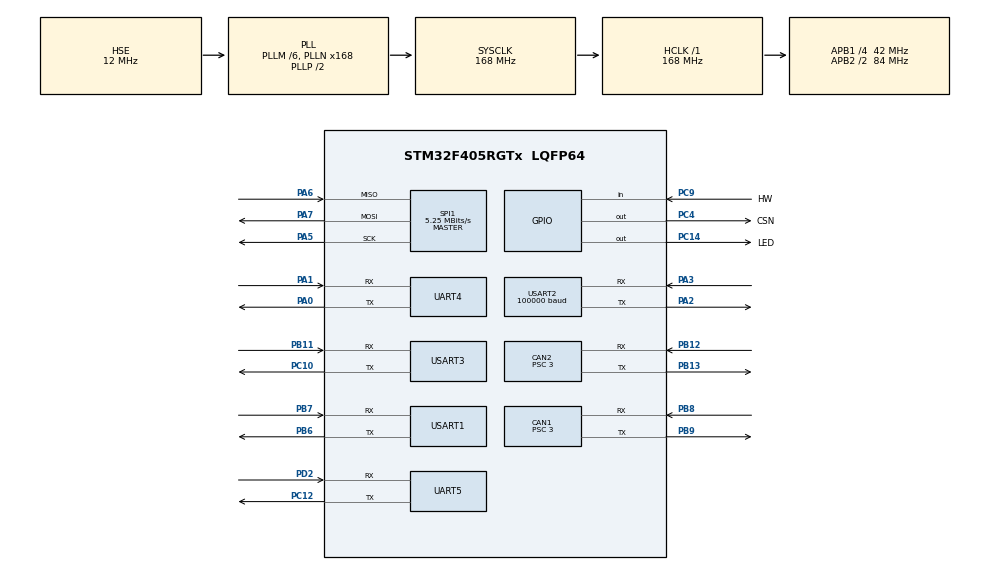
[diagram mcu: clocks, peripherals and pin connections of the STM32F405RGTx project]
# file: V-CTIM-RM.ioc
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CAN1.BS1=CAN_BS1_9TQ
CAN1.BS2=CAN_BS2_4TQ
CAN1.CalculateBaudRate=1000000
CAN1.CalculateTimeBit=999.99
CAN1.CalculateTimeQuantum=71.42857142857143
CAN1.Prescaler=3
CAN1.TXFP=ENABLE
CAN2.BS1=CAN_BS1_9TQ
CAN2.BS2=CAN_BS2_4TQ
CAN2.CalculateBaudRate=1000000
CAN2.CalculateTimeBit=999.99
CAN2.CalculateTimeQuantum=71.42857142857143
CAN2.Prescaler=3
CAN2.TXFP=ENABLE
Dma.Request0=USART1_RX
Dma.Request1=USART1_TX
Dma.Request2=USART3_TX
Dma.Request3=UART4_RX
Dma.Request4=USART2_RX
Dma.UART4_RX.3.Direction=DMA_PERIPH_TO_MEMORY
Dma.UART4_RX.3.FIFOMode=DMA_FIFOMODE_DISABLE
Dma.UART4_RX.3.Instance=DMA1_Stream2
Dma.UART4_RX.3.MemDataAlignment=DMA_MDATAALIGN_BYTE
Dma.UART4_RX.3.MemInc=DMA_MINC_ENABLE
Dma.UART4_RX.3.Mode=DMA_CIRCULAR
Dma.UART4_RX.3.PeriphDataAlignment=DMA_PDATAALIGN_BYTE
Dma.UART4_RX.3.PeriphInc=DMA_PINC_DISABLE
Dma.UART4_RX.3.Priority=DMA_PRIORITY_LOW
Dma.USART1_RX.0.Direction=DMA_PERIPH_TO_MEMORY
Dma.USART1_RX.0.FIFOMode=DMA_FIFOMODE_DISABLE
Dma.USART1_RX.0.Instance=DMA2_Stream2
Dma.USART1_RX.0.MemDataAlignment=DMA_MDATAALIGN_BYTE
Dma.USART1_RX.0.MemInc=DMA_MINC_ENABLE
Dma.USART1_RX.0.Mode=DMA_NORMAL
Dma.USART1_RX.0.PeriphDataAlignment=DMA_PDATAALIGN_BYTE
Dma.USART1_RX.0.PeriphInc=DMA_PINC_DISABLE
Dma.USART1_RX.0.Priority=DMA_PRIORITY_LOW
Dma.USART1_TX.1.Direction=DMA_MEMORY_TO_PERIPH
Dma.USART1_TX.1.FIFOMode=DMA_FIFOMODE_DISABLE
Dma.USART1_TX.1.Instance=DMA2_Stream7
Dma.USART1_TX.1.MemDataAlignment=DMA_MDATAALIGN_BYTE
Dma.USART1_TX.1.MemInc=DMA_MINC_ENABLE
Dma.USART1_TX.1.Mode=DMA_NORMAL
Dma.USART1_TX.1.PeriphDataAlignment=DMA_PDATAALIGN_BYTE
Dma.USART1_TX.1.PeriphInc=DMA_PINC_DISABLE
Dma.USART1_TX.1.Priority=DMA_PRIORITY_LOW
Dma.USART2_RX.4.Direction=DMA_PERIPH_TO_MEMORY
Dma.USART2_RX.4.FIFOMode=DMA_FIFOMODE_DISABLE
Dma.USART2_RX.4.Instance=DMA1_Stream5
Dma.USART2_RX.4.MemDataAlignment=DMA_MDATAALIGN_BYTE
Dma.USART2_RX.4.MemInc=DMA_MINC_ENABLE
Dma.USART2_RX.4.Mode=DMA_CIRCULAR
Dma.USART2_RX.4.PeriphDataAlignment=DMA_PDATAALIGN_BYTE
Dma.USART2_RX.4.PeriphInc=DMA_PINC_DISABLE
Dma.USART2_RX.4.Priority=DMA_PRIORITY_LOW
Dma.USART3_TX.2.Direction=DMA_MEMORY_TO_PERIPH
Dma.USART3_TX.2.FIFOMode=DMA_FIFOMODE_DISABLE
Dma.USART3_TX.2.Instance=DMA1_Stream3
Dma.USART3_TX.2.MemDataAlignment=DMA_MDATAALIGN_BYTE
Dma.USART3_TX.2.MemInc=DMA_MINC_ENABLE
Dma.USART3_TX.2.Mode=DMA_NORMAL
Dma.USART3_TX.2.PeriphDataAlignment=DMA_PDATAALIGN_BYTE
Dma.USART3_TX.2.PeriphInc=DMA_PINC_DISABLE
Dma.USART3_TX.2.Priority=DMA_PRIORITY_LOW
FREERTOS.Tasks01=Chassis_Task,0,128,Start_Chassis_Task,Default,NULL,Dynamic,NULL,NULL;Gimbal_Task,-3,128,Start_Gimbal_Task,Default,NULL,Dynamic,NULL,NULL;Ammo_Task,-3,128,Start_Ammo_Task,Default,NULL,Dynamic,NULL,NULL;Mini_PC_Task,-3,128,Start_Mini_PC_Task,Default,NULL,Dynamic,NULL,NULL;Judge_Task,-3,128,Start_Judge_Task,Default,NULL,Dynamic,NULL,NULL;Debug_Task,-3,128,Start_Debug_Task,Default,NULL,Dynamic,NULL,NULL;IWDG_Task,-3,128,Start_IWDG_Task,Default,NULL,Dynamic,NULL,NULL
IWDG.Prescaler=IWDG_PRESCALER_32
IWDG.Reload=500
Mcu.Family=STM32F4
Mcu.Name=STM32F405RGTx
Mcu.Package=LQFP64
NVIC.CAN1_RX0_IRQn=true\:6\:0\:true\:false\:true\:true\:true\:true
NVIC.CAN2_RX0_IRQn=true\:6\:0\:true\:false\:true\:true\:true\:true
NVIC.DMA1_Stream2_IRQn=true\:5\:0\:false\:false\:true\:true\:false\:true
NVIC.DMA1_Stream3_IRQn=true\:5\:0\:false\:false\:true\:true\:false\:true
NVIC.DMA1_Stream5_IRQn=true\:5\:0\:false\:false\:true\:true\:false\:true
NVIC.DMA2_Stream2_IRQn=true\:5\:0\:false\:false\:true\:true\:false\:true
NVIC.DMA2_Stream7_IRQn=true\:5\:0\:false\:false\:true\:true\:false\:true
NVIC.PriorityGroup=NVIC_PRIORITYGROUP_4
NVIC.TIM1_UP_TIM10_IRQn=true\:15\:0\:false\:false\:true\:false\:false\:true
NVIC.TimeBase=TIM1_UP_TIM10_IRQn
NVIC.TimeBaseIP=TIM1
NVIC.UART4_IRQn=true\:7\:0\:true\:false\:true\:true\:true\:true
NVIC.USART1_IRQn=true\:14\:0\:true\:false\:true\:true\:true\:true
NVIC.USART2_IRQn=true\:8\:0\:true\:false\:true\:true\:true\:true
NVIC.USART3_IRQn=true\:9\:0\:true\:false\:true\:true\:true\:true
PA0-WKUP.Mode=Asynchronous
PA0-WKUP.Signal=UART4_TX
PA1.Mode=Asynchronous
PA1.Signal=UART4_RX
PA13.Mode=Serial_Wire
PA13.Signal=SYS_JTMS-SWDIO
PA14.Mode=Serial_Wire
PA14.Signal=SYS_JTCK-SWCLK
PA2.Mode=Asynchronous
PA2.Signal=USART2_TX
PA3.Mode=Asynchronous
PA3.Signal=USART2_RX
PA5.Mode=Full_Duplex_Master
PA5.Signal=SPI1_SCK
PA6.Mode=Full_Duplex_Master
PA6.Signal=SPI1_MISO
PA7.Mode=Full_Duplex_Master
PA7.Signal=SPI1_MOSI
PB11.Mode=Asynchronous
PB11.Signal=USART3_RX
PB12.Mode=CAN_Activate
PB12.Signal=CAN2_RX
PB13.Mode=CAN_Activate
PB13.Signal=CAN2_TX
PB6.Mode=Asynchronous
PB6.Signal=USART1_TX
PB7.Mode=Asynchronous
PB7.Signal=USART1_RX
PB8.Mode=CAN_Activate
PB8.Signal=CAN1_RX
PB9.Mode=CAN_Activate
PB9.Signal=CAN1_TX
PC10.Mode=Asynchronous
PC10.Signal=USART3_TX
PC12.Mode=Asynchronous
PC12.Signal=UART5_TX
PC14-OSC32_IN.GPIO_Label=LED
PC14-OSC32_IN.GPIO_PuPd=GPIO_PULLUP
PC14-OSC32_IN.PinState=GPIO_PIN_SET
PC14-OSC32_IN.Signal=GPIO_Output
PC4.GPIO_Label=CSN
PC4.GPIO_PuPd=GPIO_PULLUP
PC4.GPIO_Speed=GPIO_SPEED_FREQ_HIGH
PC4.PinState=GPIO_PIN_SET
PC4.Signal=GPIO_Output
PC9.GPIO_Label=HW
PC9.GPIO_PuPd=GPIO_PULLDOWN
PC9.Signal=GPIO_Input
PD2.Mode=Asynchronous
PD2.Signal=UART5_RX
PH0-OSC_IN.Mode=HSE-External-Oscillator
PH0-OSC_IN.Signal=RCC_OSC_IN
PH1-OSC_OUT.Mode=HSE-External-Oscillator
PH1-OSC_OUT.Signal=RCC_OSC_OUT
ProjectManager.HeapSize=0x200
ProjectManager.StackSize=0x400
ProjectManager.TargetToolchain=MDK-ARM V5.32
RCC.48MHZClocksFreq_Value=84000000
RCC.AHBFreq_Value=168000000
RCC.APB1CLKDivider=RCC_HCLK_DIV4
RCC.APB1Freq_Value=42000000
RCC.APB1TimFreq_Value=84000000
RCC.APB2CLKDivider=RCC_HCLK_DIV2
RCC.APB2Freq_Value=84000000
RCC.APB2TimFreq_Value=168000000
RCC.CortexFreq_Value=168000000
RCC.HCLKFreq_Value=168000000
RCC.HSE_VALUE=12000000
RCC.HSI_VALUE=16000000
RCC.LSE_VALUE=32768
RCC.PLLM=6
RCC.PLLN=168
RCC.PLLSourceVirtual=RCC_PLLSOURCE_HSE
RCC.SYSCLKFreq_VALUE=168000000
RCC.SYSCLKSource=RCC_SYSCLKSOURCE_PLLCLK
RCC.VCOOutputFreq_Value=336000000
SPI1.BaudRatePrescaler=SPI_BAUDRATEPRESCALER_16
SPI1.CLKPhase=SPI_PHASE_2EDGE
SPI1.CalculateBaudRate=5.25 MBits/s
SPI1.DataSize=SPI_DATASIZE_16BIT
SPI1.Direction=SPI_DIRECTION_2LINES
SPI1.Mode=SPI_MODE_MASTER
SPI1.VirtualType=VM_MASTER
UART4.VirtualMode=Asynchronous
UART5.VirtualMode=Asynchronous
USART1.VirtualMode=VM_ASYNC
USART2.BaudRate=100000
USART2.VirtualMode=VM_ASYNC
USART3.VirtualMode=VM_ASYNC
VP_FREERTOS_VS_CMSIS_V1.Mode=CMSIS_V1
VP_IWDG_VS_IWDG.Mode=IWDG_Activate
VP_SYS_VS_tim1.Mode=TIM1
board=custom

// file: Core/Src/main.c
/* USER CODE BEGIN Header */
/**
  ******************************************************************************
  * @file           : main.c
  * @brief          : Main program body
  ******************************************************************************
  * @attention
  *
  * <h2><center>&copy; Copyright (c) 2021 STMicroelectronics.
  * All rights reserved.</center></h2>
  *
  * This software component is licensed by ST under Ultimate Liberty license
  * SLA0044, the "License"; You may not use this file except in compliance with
  * the License. You may obtain a copy of the License at:
  *                             www.st.com/SLA0044
  *
  ******************************************************************************
  */
/* USER CODE END Header */
#include "main.h"
#include "cmsis_os.h"
#include "can.h"
#include "dma.h"
#include "iwdg.h"
#include "spi.h"
#include "usart.h"
#include "gpio.h"

/* USER CODE BEGIN Includes */
#include "USER_CAN.h"
#include "ATK_IMU.h"
#include "DBus.h"
#include "Fire.h"
/* USER CODE END Includes */

void SystemClock_Config(void);
void MX_FREERTOS_Init(void);

int main(void)
{

  /* MCU Configuration--------------------------------------------------------*/

  /* Reset of all peripherals, Initializes the Flash interface and the Systick. */
  HAL_Init();

  /* Configure the system clock */
  SystemClock_Config();

  /* Initialize all configured peripherals */
  MX_GPIO_Init();
  MX_DMA_Init();
  MX_IWDG_Init();
  MX_USART1_UART_Init();
  MX_CAN1_Init();
  MX_CAN2_Init();
  MX_UART4_Init();
  MX_UART5_Init();
  MX_USART2_UART_Init();
  MX_USART3_UART_Init();
  MX_SPI1_Init();
  /* USER CODE BEGIN 2 */
	CAN_Filter_Init();
	ATM_IMU_init();
	Remote_Control_Init();
	Fire_init();
	Fire_uart_init();
  /* USER CODE END 2 */

  /* Call init function for freertos objects (in freertos.c) */
  MX_FREERTOS_Init();
  /* Start scheduler */
  osKernelStart();

  /* We should never get here as control is now taken by the scheduler */
  /* Infinite loop */
  while (1)
  {

  }
}

void SystemClock_Config(void)
{
  RCC_OscInitTypeDef RCC_OscInitStruct = {0};
  RCC_ClkInitTypeDef RCC_ClkInitStruct = {0};

  /** Configure the main internal regulator output voltage
  */
  __HAL_RCC_PWR_CLK_ENABLE();
  __HAL_PWR_VOLTAGESCALING_CONFIG(PWR_REGULATOR_VOLTAGE_SCALE1);
  /** Initializes the RCC Oscillators according to the specified parameters
  * in the RCC_OscInitTypeDef structure.
  */
  RCC_OscInitStruct.OscillatorType = RCC_OSCILLATORTYPE_LSI|RCC_OSCILLATORTYPE_HSE;
  RCC_OscInitStruct.HSEState = RCC_HSE_ON;
  RCC_OscInitStruct.LSIState = RCC_LSI_ON;
  RCC_OscInitStruct.PLL.PLLState = RCC_PLL_ON;
  RCC_OscInitStruct.PLL.PLLSource = RCC_PLLSOURCE_HSE;
  RCC_OscInitStruct.PLL.PLLM = 6;
  RCC_OscInitStruct.PLL.PLLN = 168;
  RCC_OscInitStruct.PLL.PLLP = RCC_PLLP_DIV2;
  RCC_OscInitStruct.PLL.PLLQ = 4;
  if (HAL_RCC_OscConfig(&RCC_OscInitStruct) != HAL_OK)
  {
    Error_Handler();
  }
  /** Initializes the CPU, AHB and APB buses clocks
  */
  RCC_ClkInitStruct.ClockType = RCC_CLOCKTYPE_HCLK|RCC_CLOCKTYPE_SYSCLK
                              |RCC_CLOCKTYPE_PCLK1|RCC_CLOCKTYPE_PCLK2;
  RCC_ClkInitStruct.SYSCLKSource = RCC_SYSCLKSOURCE_PLLCLK;
  RCC_ClkInitStruct.AHBCLKDivider = RCC_SYSCLK_DIV1;
  RCC_ClkInitStruct.APB1CLKDivider = RCC_HCLK_DIV4;
  RCC_ClkInitStruct.APB2CLKDivider = RCC_HCLK_DIV2;

  if (HAL_RCC_ClockConfig(&RCC_ClkInitStruct, FLASH_LATENCY_5) != HAL_OK)
  {
    Error_Handler();
  }
}

void HAL_TIM_PeriodElapsedCallback(TIM_HandleTypeDef *htim)
{
  if (htim->Instance == TIM1) {
    HAL_IncTick();
  }
}

void Error_Handler(void)
{
  __disable_irq();
  while (1)
  {
  }
}

/************************ (C) COPYRIGHT STMicroelectronics *****END OF FILE****/

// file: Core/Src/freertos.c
/* USER CODE BEGIN Header */
/**
  ******************************************************************************
  * File Name          : freertos.c
  * Description        : Code for freertos applications
  ******************************************************************************
  * @attention
  *
  * <h2><center>&copy; Copyright (c) 2021 STMicroelectronics.
  * All rights reserved.</center></h2>
  *
  * This software component is licensed by ST under Ultimate Liberty license
  * SLA0044, the "License"; You may not use this file except in compliance with
  * the License. You may obtain a copy of the License at:
  *                             www.st.com/SLA0044
  *
  ******************************************************************************
  */
/* USER CODE END Header */

#include "FreeRTOS.h"
#include "task.h"
#include "main.h"
#include "cmsis_os.h"

/* USER CODE BEGIN Includes */
#include "iwdg.h"
/* USER CODE END Includes */

/* USER CODE BEGIN PTD */
#include "Debug.h"
#include "Friction_wheel.h"
#include "Chassis.h"
#include "USER_CAN.h"
//#include "AS5048A.h"
#include "Fire.h"
/* USER CODE END PTD */

osThreadId Chassis_TaskHandle;
osThreadId Gimbal_TaskHandle;
osThreadId Ammo_TaskHandle;
osThreadId Mini_PC_TaskHandle;
osThreadId Judge_TaskHandle;
osThreadId Debug_TaskHandle;
osThreadId IWDG_TaskHandle;

void Start_Chassis_Task(void const * argument);
void Start_Gimbal_Task(void const * argument);
void Start_Ammo_Task(void const * argument);
void Start_Mini_PC_Task(void const * argument);
void Start_Judge_Task(void const * argument);
void Start_Debug_Task(void const * argument);
void Start_IWDG_Task(void const * argument);

void MX_FREERTOS_Init(void); /* (MISRA C 2004 rule 8.1) */

/* GetIdleTaskMemory prototype (linked to static allocation support) */
void vApplicationGetIdleTaskMemory( StaticTask_t **ppxIdleTaskTCBBuffer, StackType_t **ppxIdleTaskStackBuffer, uint32_t *pulIdleTaskStackSize );

/* USER CODE BEGIN GET_IDLE_TASK_MEMORY */
static StaticTask_t xIdleTaskTCBBuffer;
static StackType_t xIdleStack[configMINIMAL_STACK_SIZE];

void vApplicationGetIdleTaskMemory( StaticTask_t **ppxIdleTaskTCBBuffer, StackType_t **ppxIdleTaskStackBuffer, uint32_t *pulIdleTaskStackSize )
{
  *ppxIdleTaskTCBBuffer = &xIdleTaskTCBBuffer;
  *ppxIdleTaskStackBuffer = &xIdleStack[0];
  *pulIdleTaskStackSize = configMINIMAL_STACK_SIZE;
  /* place for user code */
}
/* USER CODE END GET_IDLE_TASK_MEMORY */

void MX_FREERTOS_Init(void) {

  /* Create the thread(s) */
  /* definition and creation of Chassis_Task */
  osThreadDef(Chassis_Task, Start_Chassis_Task, osPriorityNormal, 0, 128);
  Chassis_TaskHandle = osThreadCreate(osThread(Chassis_Task), NULL);

  /* definition and creation of Gimbal_Task */
  osThreadDef(Gimbal_Task, Start_Gimbal_Task, osPriorityIdle, 0, 128);
  Gimbal_TaskHandle = osThreadCreate(osThread(Gimbal_Task), NULL);

  /* definition and creation of Ammo_Task */
  osThreadDef(Ammo_Task, Start_Ammo_Task, osPriorityIdle, 0, 128);
  Ammo_TaskHandle = osThreadCreate(osThread(Ammo_Task), NULL);

  /* definition and creation of Mini_PC_Task */
  osThreadDef(Mini_PC_Task, Start_Mini_PC_Task, osPriorityIdle, 0, 128);
  Mini_PC_TaskHandle = osThreadCreate(osThread(Mini_PC_Task), NULL);

  /* definition and creation of Judge_Task */
  osThreadDef(Judge_Task, Start_Judge_Task, osPriorityIdle, 0, 128);
  Judge_TaskHandle = osThreadCreate(osThread(Judge_Task), NULL);

  /* definition and creation of Debug_Task */
  osThreadDef(Debug_Task, Start_Debug_Task, osPriorityIdle, 0, 128);
  Debug_TaskHandle = osThreadCreate(osThread(Debug_Task), NULL);

  /* definition and creation of IWDG_Task */
  osThreadDef(IWDG_Task, Start_IWDG_Task, osPriorityIdle, 0, 128);
  IWDG_TaskHandle = osThreadCreate(osThread(IWDG_Task), NULL);

}

void Start_Chassis_Task(void const * argument)
{
  /* USER CODE BEGIN Start_Chassis_Task */
  /* Infinite loop */
	Chassis_init();
  for(;;)
  {
//		Chassis_move();
//		Chassis_out(1000,1000,1000,1000);
//		Chassis_out(Fire.Target_value,0,0,0);
		CAN1_to_Motor(0x200);
//		CAN2_to_Motor(0x200);
    osDelay(1);
  }
  /* USER CODE END Start_Chassis_Task */
}

void Start_Gimbal_Task(void const * argument)
{
  /* USER CODE BEGIN Start_Gimbal_Task */
  /* Infinite loop */
  for(;;)
  {
		CAN1_to_Motor(0x1FF);
//		CAN2_to_Motor(0x1FF);
    osDelay(10);
  }
  /* USER CODE END Start_Gimbal_Task */
}

void Start_Ammo_Task(void const * argument)
{
  /* USER CODE BEGIN Start_Ammo_Task */
  /* Infinite loop */
  for(;;)
  {
//		if(HAL_GPIO_ReadPin(HW_GPIO_Port,HW_Pin) == 1)
//			uart_printf("1\r\n");
//		else if(HAL_GPIO_ReadPin(HW_GPIO_Port,HW_Pin) == 0)
//			uart_printf("0\r\n");
		Friction_wheel_speed(6000, -6000);
    osDelay(20);
  }
  /* USER CODE END Start_Ammo_Task */
}

void Start_Mini_PC_Task(void const * argument)
{
  for(;;)
  {
    osDelay(1);
  }
}

void Start_Judge_Task(void const * argument)
{
  for(;;)
  {
    osDelay(1);
  }
}

void Start_Debug_Task(void const * argument)
{
  /* USER CODE BEGIN Start_Debug_Task */
  /* Infinite loop */
	Fire_PID_init();
  for(;;)
  {
		Fire_Receiving_process();//Fire
		Fire_Debug_Chassis();
//		Debug();
    osDelay(12);
  }
  /* USER CODE END Start_Debug_Task */
}

void Start_IWDG_Task(void const * argument)
{
  /* USER CODE BEGIN Start_IWDG_Task */
  /* Infinite loop */
  for(;;)
  {
		HAL_GPIO_TogglePin(LED_GPIO_Port,LED_Pin);
		HAL_IWDG_Refresh(&hiwdg);
    osDelay(400);
  }
  /* USER CODE END Start_IWDG_Task */
}

/************************ (C) COPYRIGHT STMicroelectronics *****END OF FILE****/
